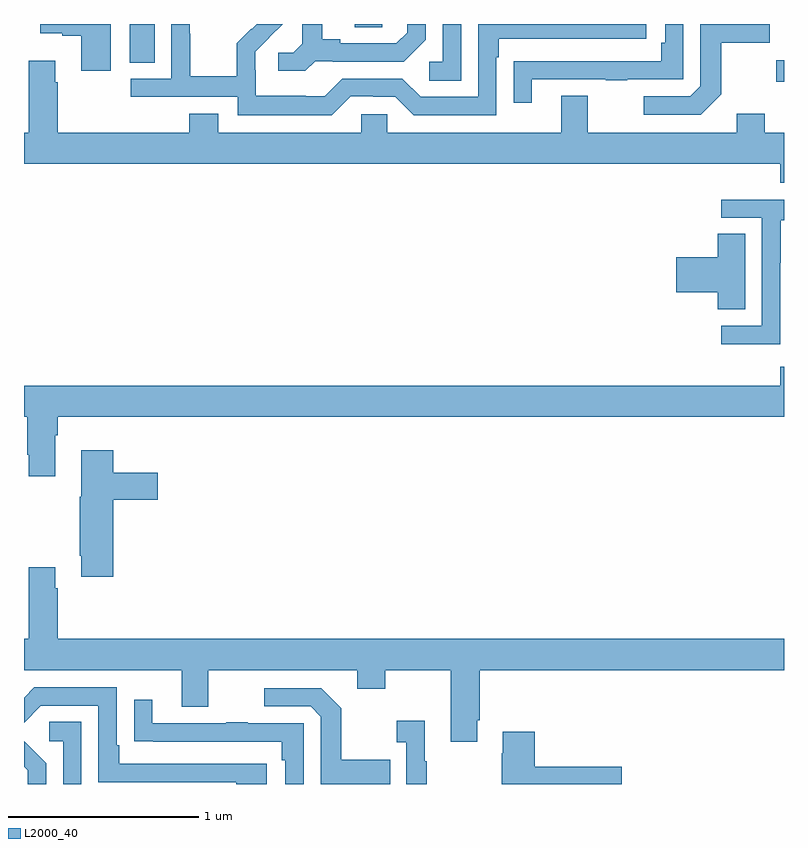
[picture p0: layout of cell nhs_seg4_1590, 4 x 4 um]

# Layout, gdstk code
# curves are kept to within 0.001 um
import gdstk
lib = gdstk.Library(unit=1e-6, precision=1e-09)
def R(c, l, rs):  # rectangles x0, y0, x1, y1
    for r in rs: c.add(gdstk.rectangle(r[:2], r[2:], *l))
def P(c, l, *ps):  # polygons
    for p in ps: c.add(gdstk.Polygon(p, *l))
L2000_40 = (2000, 40)

nhs_seg4_1590 = lib.new_cell('nhs_seg4_1590')
R(nhs_seg4_1590, L2000_40, [(196.959,786.597,197,786.71), (193.556,786.697,193.687,786.9), (194.741,786.883,194.886,786.9)])
P(nhs_seg4_1590, L2000_40, [(195.3,786.9),(195.204,786.9),(195.204,786.702),(195.132,786.702),(195.132,786.601),(195.3,786.601)],
  [(194.532,786.705),(194.626,786.705),(194.626,786.702),(194.998,786.702),(195.114,786.818),(195.114,786.9),(195.017,786.9),(195.017,786.855),(194.96,786.798),(194.665,786.798),(194.665,786.821),(194.569,786.821),(194.569,786.9),(194.465,786.9),(194.465,786.797),(194.418,786.75),(194.337,786.75),(194.337,786.653),(194.48,786.653)],
  [(196.669,786.529),(196.669,786.802),(196.925,786.802),(196.925,786.9),(196.56,786.9),(196.56,786.573),(196.506,786.519),(196.263,786.519),(196.263,786.423),(196.563,786.423)],
  [(193.456,786.9),(193.086,786.9),(193.086,786.851),(193.202,786.851),(193.202,786.839),(193.301,786.839),(193.301,786.654),(193.456,786.654)],
  [(194.721,786.519),(194.837,786.519),(194.837,786.516),(194.955,786.516),(195.051,786.42),(195.486,786.42),(195.486,786.725),(195.499,786.725),(195.499,786.822),(196.276,786.822),(196.276,786.9),(195.39,786.9),(195.39,786.516),(195.087,786.516),(194.991,786.612),(194.676,786.612),(194.583,786.519),(194.483,786.519),(194.483,786.523),(194.22,786.523),(194.22,786.657),(194.218,786.657),(194.218,786.754),(194.362,786.9),(194.226,786.9),(194.199,786.873),(194.196,786.876),(194.119,786.799),(194.119,786.625),(193.875,786.625),(193.875,786.848),(193.872,786.848),(193.872,786.9),(193.776,786.9),(193.776,786.612),(193.563,786.612),(193.563,786.516),(194.124,786.516),(194.124,786.419),(194.621,786.419)],
  [(195.673,786.609),(196.063,786.609),(196.063,786.604),(196.175,786.604),(196.175,786.609),(196.47,786.609),(196.47,786.9),(196.374,786.9),(196.374,786.802),(196.354,786.802),(196.354,786.705),(195.679,786.705),(195.679,786.704),(195.577,786.704),(195.577,786.486),(195.673,786.486)],
  [(197,786.328),(196.899,786.328),(196.899,786.427),(196.751,786.427),(196.751,786.328),(195.967,786.328),(195.967,786.523),(195.827,786.523),(195.827,786.328),(194.913,786.328),(194.913,786.426),(194.775,786.426),(194.775,786.328),(194.023,786.328),(194.023,786.427),(193.871,786.427),(193.871,786.328),(193.178,786.328),(193.178,786.593),(193.165,786.593),(193.165,786.706),(193.025,786.706),(193.025,786.328),(193,786.328),(193,786.164),(196.979,786.164),(196.979,786.065),(197,786.065)],
  [(196.98,785.644),(196.983,785.644),(196.983,785.868),(197,785.868),(197,785.976),(196.671,785.976),(196.671,785.88),(196.884,785.88),(196.884,785.313),(196.671,785.313),(196.671,785.215),(196.98,785.215)],
  [(196.795,785.795),(196.652,785.795),(196.652,785.672),(196.434,785.672),(196.434,785.489),(196.652,785.489),(196.652,785.398),(196.795,785.398)],
  [(193.165,784.736),(193.178,784.736),(193.178,784.832),(197,784.832),(197,785.095),(196.979,785.095),(196.979,784.996),(193,784.996),(193,784.832),(193.018,784.832),(193.018,784.633),(193.025,784.633),(193.025,784.521),(193.165,784.521)],
  [(193.469,784.397),(193.705,784.397),(193.705,784.539),(193.469,784.539),(193.469,784.657),(193.301,784.657),(193.301,784.413),(193.294,784.413),(193.294,784.102),(193.301,784.102),(193.301,783.99),(193.469,783.99)],
  [(195.385,783.235),(195.398,783.235),(195.398,783.5),(197,783.5),(197,783.664),(193.178,783.664),(193.178,783.929),(193.165,783.929),(193.165,784.042),(193.025,784.042),(193.025,783.664),(193,783.664),(193,783.5),(193.829,783.5),(193.829,783.306),(193.969,783.306),(193.969,783.5),(194.753,783.5),(194.753,783.401),(194.901,783.401),(194.901,783.5),(195.245,783.5),(195.245,783.123),(195.385,783.123)],
  [(194.278,783.006),(193.501,783.006),(193.501,783.103),(193.488,783.103),(193.488,783.408),(193.053,783.408),(193,783.355),(193,783.223),(193.089,783.312),(193.392,783.312),(193.392,782.91),(194.117,782.91),(194.117,782.9),(194.278,782.9)],
  [(194.927,783.027),(194.671,783.027),(194.671,783.299),(194.565,783.405),(194.265,783.405),(194.265,783.309),(194.508,783.309),(194.562,783.255),(194.562,782.9),(194.927,782.9)],
  [(194.472,783.219),(194.177,783.219),(194.177,783.224),(194.065,783.224),(194.065,783.219),(193.675,783.219),(193.675,783.343),(193.579,783.343),(193.579,783.124),(193.681,783.124),(193.681,783.123),(194.356,783.123),(194.356,783.026),(194.376,783.026),(194.376,782.9),(194.472,782.9)],
  [(195.121,783.019),(195.109,783.019),(195.109,783.232),(194.961,783.232),(194.961,783.119),(195.012,783.119),(195.012,782.9),(195.121,782.9)],
  [(193.302,783.227),(193.134,783.227),(193.134,783.126),(193.206,783.126),(193.206,782.9),(193.302,782.9)],
  [(196.147,782.99),(195.689,782.99),(195.689,783.175),(195.521,783.175),(195.521,783.062),(195.514,783.062),(195.514,782.9),(196.147,782.9)],
  [(193.116,783.01),(193,783.126),(193,782.992),(193.019,782.973),(193.019,782.9),(193.116,782.9)])

lib.write_gds('nhs_seg4_1590.gds')
